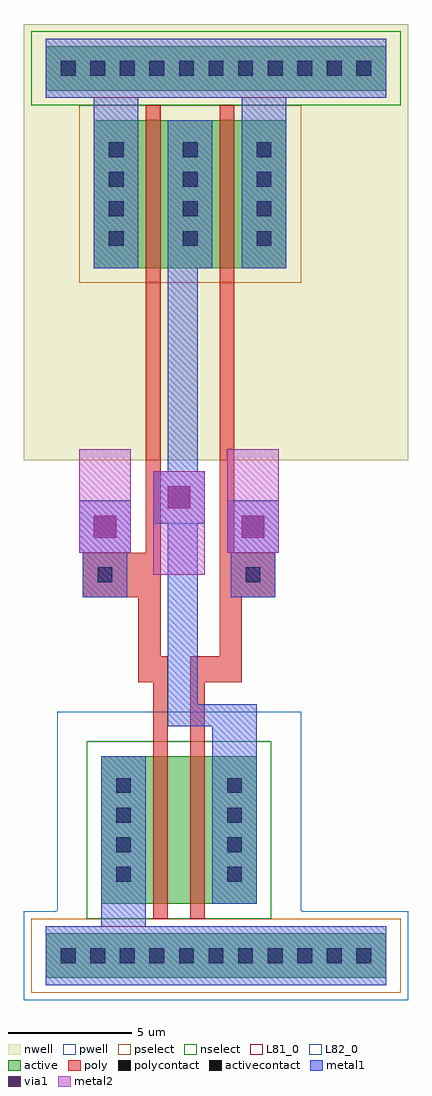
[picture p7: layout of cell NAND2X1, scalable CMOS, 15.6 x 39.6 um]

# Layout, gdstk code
import gdstk
lib = gdstk.Library(unit=1e-6, precision=1e-09)
def R(c, l, rs):  # rectangles x0, y0, x1, y1
    for r in rs: c.add(gdstk.rectangle(r[:2], r[2:], *l))
def A(c, l, x, y, w, h, nx, ny, dx, dy):  # array of equal rectangles
    R(c, l, [(x+i*dx, y+j*dy, x+i*dx+w, y+j*dy+h) for i in range(nx) for j in range(ny)])
pwell = (41, 0)
nwell = (42, 0)
active = (43, 0)
pselect = (44, 0)
nselect = (45, 0)
poly = (46, 0)
polycontact = (47, 0)
activecontact = (48, 0)
metal1 = (49, 0)
via1 = (50, 0)
metal2 = (51, 0)
L81_0 = (81, 0)
L82_0 = (82, 0)

nand2x1 = lib.new_cell('NAND2X1')
R(nand2x1, pwell, [(-1.8,-1.8,13.8,1.8), (-0.45,1.8,9.45,9.9)])
R(nand2x1, nwell, [(-1.8,20.1,13.8,37.8)])
R(nand2x1, active, [(-0.9,-0.9,12.9,0.9), (1.35,2.1,7.65,8.1), (1.05,27.9,8.85,33.9), (-0.9,35.1,12.9,36.9)])
R(nand2x1, pselect, [(-1.5,-1.5,13.5,1.5), (0.45,27.3,9.45,34.5)])
R(nand2x1, nselect, [(0.75,1.5,8.25,8.7), (-1.5,34.5,13.5,37.5)])
R(nand2x1, poly, [(3.45,1.5,4.05,11.1), (4.95,1.5,5.55,11.1), (2.85,11.1,4.05,12.15), (4.95,11.1,7.05,12.15), (2.85,12.15,3.75,14.55), (6.15,12.15,7.05,14.55), (0.6,14.55,3.75,16.35), (6.15,14.55,8.4,16.35), (3.15,16.35,3.75,34.5), (6.15,16.35,6.75,34.5)])
R(nand2x1, polycontact, [(1.2,15.15,1.8,15.75), (7.2,15.15,7.8,15.75)])
A(nand2x1, activecontact, -0.3, -0.3, 0.6, 0.6, 11, 2, 1.2, 36)
A(nand2x1, activecontact, 1.95, 3, 0.6, 0.6, 1, 4, 0, 1.2)
A(nand2x1, activecontact, 6.45, 3, 0.6, 0.6, 1, 4, 0, 1.2)
A(nand2x1, activecontact, 1.65, 28.8, 0.6, 0.6, 3, 4, 3, 1.2)
R(nand2x1, metal1, [(-0.9,-1.2,12.9,1.2), (1.35,1.2,3.15,8.1), (5.85,2.1,7.65,9.3), (4.05,9.3,7.65,10.2), (4.05,10.2,5.25,17.55), (0.6,14.55,2.4,16.35), (6.6,14.55,8.4,16.35), (0.45,16.35,2.55,18.45), (6.45,16.35,8.55,18.45), (3.45,17.55,5.55,19.65), (4.05,19.65,5.25,27.9), (1.05,27.9,2.85,34.8), (4.05,27.9,5.85,33.9), (7.05,27.9,8.85,34.8), (-0.9,34.8,12.9,37.2)])
R(nand2x1, via1, [(1.05,16.95,1.95,17.85), (7.05,16.95,7.95,17.85), (4.05,18.15,4.95,19.05)])
R(nand2x1, metal2, [(3.45,15.45,5.55,19.65), (0.45,16.35,2.55,20.55), (6.45,16.35,8.55,20.55)])
R(nand2x1, L81_0, [(-0.9,-1.2,12.9,1.2), (-0.9,34.8,12.9,37.2)])
R(nand2x1, L82_0, [(3.45,15.45,5.55,17.55), (0.45,18.45,2.55,20.55), (6.45,18.45,8.55,20.55)])

lib.write_gds('NAND2X1.gds')
